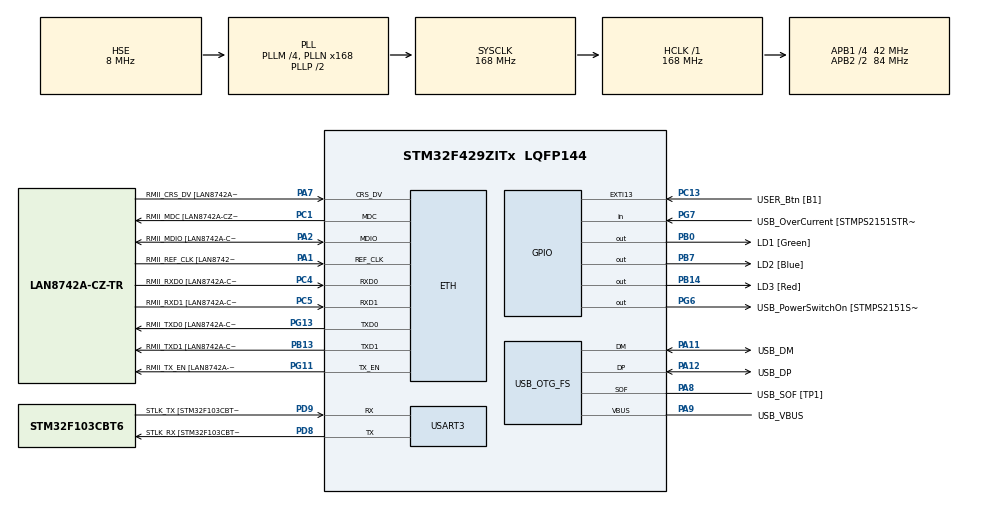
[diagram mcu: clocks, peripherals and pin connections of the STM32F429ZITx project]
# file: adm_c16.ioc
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ETH.MediaInterface=HAL_ETH_RMII_MODE
ETH.PHY_Name=LAN8742A_PHY_ADDRESS
ETH.PHY_Value=0
ETH.PhyAddress=0
Mcu.Family=STM32F4
Mcu.Name=STM32F429ZITx
Mcu.Package=LQFP144
NVIC.PriorityGroup=NVIC_PRIORITYGROUP_4
PA1.GPIO_Label=RMII_REF_CLK [LAN8742A-CZ-TR_REFCLK0]
PA1.Mode=RMII
PA1.Signal=ETH_REF_CLK
PA10.GPIO_Label=USB_ID
PA10.Signal=USB_OTG_FS_ID
PA11.GPIO_Label=USB_DM
PA11.Mode=Device_Only
PA11.Signal=USB_OTG_FS_DM
PA12.GPIO_Label=USB_DP
PA12.Mode=Device_Only
PA12.Signal=USB_OTG_FS_DP
PA13.GPIO_Label=TMS
PA13.Mode=Serial_Wire
PA13.Signal=SYS_JTMS-SWDIO
PA14.GPIO_Label=TCK
PA14.Mode=Serial_Wire
PA14.Signal=SYS_JTCK-SWCLK
PA2.GPIO_Label=RMII_MDIO [LAN8742A-CZ-TR_MDIO]
PA2.Mode=RMII
PA2.Signal=ETH_MDIO
PA7.GPIO_Label=RMII_CRS_DV [LAN8742A-CZ-TR_CRS_DV]
PA7.Mode=RMII
PA7.Signal=ETH_CRS_DV
PA8.GPIO_Label=USB_SOF [TP1]
PA8.Mode=Activate_SOF_FS
PA8.Signal=USB_OTG_FS_SOF
PA9.GPIO_Label=USB_VBUS
PA9.Mode=Activate_VBUS
PA9.Signal=USB_OTG_FS_VBUS
PB0.GPIO_Label=LD1 [Green]
PB0.Signal=GPIO_Output
PB13.GPIO_Label=RMII_TXD1 [LAN8742A-CZ-TR_TXD1]
PB13.Mode=RMII
PB13.Signal=ETH_TXD1
PB14.GPIO_Label=LD3 [Red]
PB14.Signal=GPIO_Output
PB7.GPIO_Label=LD2 [Blue]
PB7.PinState=GPIO_PIN_SET
PB7.Signal=GPIO_Output
PC1.GPIO_Label=RMII_MDC [LAN8742A-CZ-TR_MDC]
PC1.Mode=RMII
PC1.Signal=ETH_MDC
PC13.GPIO_Label=USER_Btn [B1]
PC13.Signal=GPXTI13
PC14/OSC32_IN.Mode=LSE-External-Oscillator
PC14/OSC32_IN.Signal=RCC_OSC32_IN
PC15/OSC32_OUT.Mode=LSE-External-Oscillator
PC15/OSC32_OUT.Signal=RCC_OSC32_OUT
PC4.GPIO_Label=RMII_RXD0 [LAN8742A-CZ-TR_RXD0]
PC4.Mode=RMII
PC4.Signal=ETH_RXD0
PC5.GPIO_Label=RMII_RXD1 [LAN8742A-CZ-TR_RXD1]
PC5.Mode=RMII
PC5.Signal=ETH_RXD1
PD8.GPIO_Label=STLK_RX [STM32F103CBT6_PA3]
PD8.Mode=Asynchronous
PD8.Signal=USART3_TX
PD9.GPIO_Label=STLK_TX [STM32F103CBT6_PA2]
PD9.Mode=Asynchronous
PD9.Signal=USART3_RX
PG11.GPIO_Label=RMII_TX_EN [LAN8742A-CZ-TR_TXEN]
PG11.Mode=RMII
PG11.Signal=ETH_TX_EN
PG13.GPIO_Label=RMII_TXD0 [LAN8742A-CZ-TR_TXD0]
PG13.Mode=RMII
PG13.Signal=ETH_TXD0
PG6.GPIO_Label=USB_PowerSwitchOn [STMPS2151STR_EN]
PG6.Signal=GPIO_Output
PG7.GPIO_Label=USB_OverCurrent [STMPS2151STR_FAULT]
PG7.Signal=GPIO_Input
PH0/OSC_IN.GPIO_Label=MCO [STM32F103CBT6_PA8]
PH0/OSC_IN.Mode=HSE-External-Clock-Source
PH0/OSC_IN.Signal=RCC_OSC_IN
PH1/OSC_OUT.Mode=HSE-External-Clock-Source
PH1/OSC_OUT.Signal=RCC_OSC_OUT
ProjectManager.HeapSize=0x200
ProjectManager.StackSize=0x400
ProjectManager.TargetToolchain=STM32CubeIDE
RCC.48MHZClocksFreq_Value=48000000
RCC.AHBFreq_Value=168000000
RCC.APB1CLKDivider=RCC_HCLK_DIV4
RCC.APB1Freq_Value=42000000
RCC.APB1TimFreq_Value=84000000
RCC.APB2CLKDivider=RCC_HCLK_DIV2
RCC.APB2Freq_Value=84000000
RCC.APB2TimCLKDivider=2
RCC.APB2TimFreq_Value=168000000
RCC.CortexFreq_Value=168000000
RCC.HCLKFreq_Value=168000000
RCC.HSE_VALUE=8000000
RCC.HSI_VALUE=16000000
RCC.PLLM=4
RCC.PLLMUL=RCC_PLL_MUL9
RCC.PLLN=168
RCC.PLLQ=7
RCC.PRESCALERUSB=RCC_USBCLKSOURCE_PLL_DIV1_5
RCC.SYSCLKFreq_VALUE=168000000
RCC.SYSCLKSource=RCC_SYSCLKSOURCE_PLLCLK
RCC.SYSCLKSourceVirtual=RCC_SYSCLKSOURCE_PLLCLK
RCC.USBFreq_Value=48000000
RCC.VCOOutputFreq_Value=336000000
USART3.VirtualMode=VM_ASYNC
USB_OTG_FS.VirtualMode=Device_Only
board=NUCLEO-F429ZI

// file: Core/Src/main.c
/* USER CODE BEGIN Header */
/**
  ******************************************************************************
  * @file           : main.c
  * @brief          : Main program body
  ******************************************************************************
  * @attention
  *
  * Copyright (c) 2022 STMicroelectronics.
  * All rights reserved.
  *
  * This software is licensed under terms that can be found in the LICENSE file
  * in the root directory of this software component.
  * If no LICENSE file comes with this software, it is provided AS-IS.
  *
  ******************************************************************************
  */
/* USER CODE END Header */
#include "main.h"
#include "string.h"

/* USER CODE BEGIN Includes */
#include "asm_func.h"
/* USER CODE END Includes */

ETH_TxPacketConfig TxConfig;
ETH_DMADescTypeDef  DMARxDscrTab[ETH_RX_DESC_CNT]; /* Ethernet Rx DMA Descriptors */
ETH_DMADescTypeDef  DMATxDscrTab[ETH_TX_DESC_CNT]; /* Ethernet Tx DMA Descriptors */

ETH_HandleTypeDef heth;

UART_HandleTypeDef huart3;

PCD_HandleTypeDef hpcd_USB_OTG_FS;

void SystemClock_Config(void);
static void MX_GPIO_Init(void);
static void MX_ETH_Init(void);
static void MX_USART3_UART_Init(void);
static void MX_USB_OTG_FS_PCD_Init(void);
/* USER CODE BEGIN PFP */

/* Ejercicio 1.
 * @brief 	Inicializa un array con 0's
 * @param 	vector array que se va a inicializar
 * @param 	longitud longitud del array a inicializar
 * @retval 	None
 */
void zeros(uint32_t* vector, uint32_t longitud)
{
	for (uint32_t i=0; i<longitud; ++i)
	{
		vector[i] = 0;
	}
}

/* Ejercicio 2.
 * @brief	Realiza el producto de un vector por un escalar
 * @param 	vectorIn Array con los datos de entrada
 * @param 	vectorOut Array donde se almacena el resultado
 * @param 	longitud Longitud del array
 * @param 	escalar Valor escalar por el que se va a multiplicar vectorIn
 * @retval	None
 */
void productoEscalar32(uint32_t* vectorIn, uint32_t* vectorOut, uint32_t longitud, uint32_t escalar)
{
	for (uint32_t i=0; i<longitud; ++i)
	{
		vectorOut[i] = escalar * vectorIn[i];
	}
}

/* Ejercicio 3.
 * @brief	Realiza el producto de un vector por un escalar
 * @param 	vectorIn Array con los datos de entrada
 * @param 	vectorOut Array donde se almacena el resultado
 * @param 	longitud Longitud del array
 * @param 	escalar Valor escalar por el que se va a multiplicar vectorIn
 * @retval  None
 */
void productoEscalar16(uint16_t* vectorIn, uint16_t* vectorOut, uint32_t longitud, uint16_t escalar)
{
	for (uint32_t i=0; i<longitud; ++i)
	{
		vectorOut[i] = escalar * vectorIn[i];
	}
}

/* Ejercicio 4.
 * @brief	Realiza el producto de un vector por un escalar saturando el resultado a 12bits
 * @param 	vectorIn Array con los datos de entrada
 * @param 	vectorOut Array donde se almacena el resultado
 * @param 	longitud Longitud del array
 * @param 	escalar Valor escalar por el que se va a multiplicar vectorIn
 */
void productoEscalar12(uint16_t* vectorIn, uint16_t* vectorOut, uint32_t longitud, uint16_t escalar)
{
	for (uint32_t i=0; i<longitud; ++i)
	{
		vectorOut[i] = (escalar * vectorIn[i] <= 4095) ? escalar * vectorIn[i] : 4095;
	}
}

/* Ejercicio 5.
 * @brief  Realiza un filtro de ventana realizando el promedio de 5 valores a izquierda y 5 a derecha de cada valor central
 * @param  Puntero a donde comienza el vector de entrada
 * @param  Puntero a donde comienza el vector de salida
 * @param  Longitud del vector
 * @retval None
 */
void filtroVentana10(uint16_t * vectorIn, uint16_t * vectorOut, uint32_t longitudVectorIn)
{
	if(vectorIn != 0 && vectorOut != 0)
	{
		int num_muestras_izq = 0;
		int num_muestras_der = 0;
		for(int i = 0; i<longitudVectorIn; i++)
		{
			num_muestras_izq = i<6 ? i : 5;
			num_muestras_der = i<((int)longitudVectorIn-5) ? 5 : ((int)longitudVectorIn-(i+1));
			*vectorOut = 0;
			for(int j=1;j<=num_muestras_izq;j++)
			{
				*vectorOut += *(vectorIn - j);
			}
			for(int j=1;j<=num_muestras_der;j++)
			{
				*vectorOut += *(vectorIn + j);
			}
			*vectorOut = *vectorOut/(num_muestras_izq+num_muestras_der);
			vectorIn++;
			vectorOut++;
		}
	}
}

/* Ejercicio 6
 * @brief  Realizar una función que reciba un vector de números signados de 32 bits y los “empaquete” en otro vector de 16 bits. La función deberá adecuar los valores de entrada a la nueva precisión.
 * @param  Puntero a donde comienza el vector de entrada
 * @param  Puntero a donde comienza el vector de salida
 * @param  Longitud del vector
 * @retval None
 */
void pack32to16 (int32_t * vectorIn, int16_t *vectorOut, uint32_t longitud)
{
	int i = 0;
	for (i = 0; i < longitud; i++)
	{
		*(vectorOut + i) = (uint16_t) (((*(vectorIn + i)) >> 16) & 0xff);
	}
}

/* Ejercicio 7
 * @brief Realizar una función que reciba un vector de números signados de 32 bits y devuelva la posición del máximo del vector.
 * @param vectorIn	Puntero donde comienza el vector de entrada
 * @param longitud	Longitud del vector de entrada
 * @retval posicion del valor maximo
 * */
int32_t max (int32_t * vectorIn, uint32_t longitud)
{
	int32_t max = -1000;
	int32_t pos_max = 0;
	for (int i = 0; i < longitud; i++)
	{
		if (vectorIn[i]>max)
		{
			max = vectorIn[i];
			pos_max=i+1;
		}
	}
	return pos_max;
}

/* Ejercicio 8
 * @brief Realizar una función que reciba un vector de muestras signadas de 32 bits y lo decime descartando una cada N muestras.
 * @param vectorIn	Vector con los valores de entrada.
 * @param vectorOut	Vector con los valores de salida.
 * @param longitud	Longitud del vector.
 * @param N	Numero de muestras de downsample.
 * @retval None
 * */
void downsampleM (int32_t * vectorIn, int32_t * vectorOut, uint32_t longitud, uint32_t N)
{
	if (vectorIn == 0 || vectorOut == 0)
		return;

	uint32_t j=0;

	vectorOut[j++] = vectorIn[0]; //Asigno el primer elemento para que la condicion i%N != 0 no se evalue con i=0

	for (uint32_t i=1; i<longitud; ++i)
	{
		if (i%N != 0)
			vectorOut[j++] = vectorIn[i];
	}
}

/* Ejercicio 9
 * @brief Realizar una función que reciba un vector de muestras no signadas de 16 bits e invierta su orden.
 * @param vector Vector de entrada/salida
 * @param longitud	Longitud del vector.
 * @retval None
 * */
void invertir (uint16_t * vector, uint32_t longitud)
{
	if (vector == 0)
		return;

	for (uint32_t i=0; i<longitud/2; ++i)
	{
		uint16_t aux = vector[i];
		vector[i] = vector[longitud-i];
		vector[longitud-i] = aux;
	}
}

/* Ejercicio 10
 * @brief Realizar una función que recibe un vector de 4096 valores de 16 bits (signados), que corresponden a muestras de audio tomadas
 * a una tasa de muestreo de 44.100 muestras/s.
 * La función debe introducir un “eco” de la mitad de la amplitud de la muestra original a los 20ms de comenzada
 * la grabación.
 * @param vectorIn	Direccion de la primera posicion de memoria del vector de entrada
 * @retval None
 */
void eco(int16_t* vectorIn)
{
	int16_t vinCopy[4096];

	for (int16_t i=0; i<4096; ++i)
	{
		vinCopy[i] = vectorIn[i]/2; // Guardo una copia de la senal de entrada/2
	}

	for (uint16_t i=882; i<4096; ++i)
	{
		vectorIn[i] = vectorIn[i] + vinCopy[i-882];
	}

	int a;
	(void)a;
}

/* USER CODE END PFP */

/* USER CODE BEGIN 0 */
static void PrivilegiosSVC (void)
{
    // Obtiene valor del registro de 32 bits del procesador llamado "control".
    // El registro guarda los siguientes estados:
    // bit 2: Uso de FPU en el contexto actual. Usado=1, no usado=0.
    // bit 1: Mapeo del stack pointer(sp). MSP=0, PSP=1.
    // bit 0: Modo de ejecucion en Thread. Privilegiado=0, No privilegiado=1.
    //        Recordar que este valor solo se usa en modo Thread. Las
    //        interrupciones siempre se ejecutan en modo Handler con total
    //        privilegio.
    uint32_t x = __get_CONTROL ();

    // Actividad de debug: Ver registro "control" y valor de variable "x".
    //__BKPT (0);

    x |= 1;
    // bit 0 a modo No privilegiado.
    __set_CONTROL (x);

    // En este punto se estaria ejecutando en modo No privilegiado.
    // Lectura del registro "control" para confirmar.
    x = __get_CONTROL ();

    // Actividad de debug: Ver registro "control" y valor de variable "x".
    //__BKPT (0);

    x &= ~1u;
    // Se intenta volver a modo Privilegiado (bit 0, valor 0).
    __set_CONTROL (x);

    // Confirma que esta operacion es ignorada por estar ejecutandose en modo
    // Thread no privilegiado.
    x = __get_CONTROL ();

    // Actividad de debug: Ver registro "control" y valor de variable "x".
    //__BKPT (0);

    // En este punto, ejecutando en modo Thread no privilegiado, la unica forma
    // de volver a modo privilegiado o de realizar cualquier cambio que requiera
    // modo privilegiado, es pidiendo ese servicio a un hipotetico sistema
    // opertivo de tiempo real.
    // Para esto se invoca por software a la interrupcion SVC (Supervisor Call)
    // utilizando la instruccion "svc".
    // No hay intrinsics para realizar esta tarea. Para utilizar la instruccion
    // es necesario implementar una funcion en assembler. Ver el archivo
    // asm_func.S.
    asm_svc ();

    // El sistema operativo (el handler de SVC) deberia haber devuelto el modo
    // de ejecucion de Thread a privilegiado (bit 0 en valor 0).
    x = __get_CONTROL ();

    // Fin del ejemplo de SVC
}
/* USER CODE END 0 */
int main(void)
{

  /* MCU Configuration--------------------------------------------------------*/

  /* Reset of all peripherals, Initializes the Flash interface and the Systick. */
  HAL_Init();

  /**/
  // Activa contador de ciclos (iniciar una sola vez)
  DWT->CTRL |= 1 << DWT_CTRL_CYCCNTENA_Pos;

  /* Configure the system clock */
  SystemClock_Config();

  /* Initialize all configured peripherals */
  MX_GPIO_Init();
  MX_ETH_Init();
  MX_USART3_UART_Init();
  MX_USB_OTG_FS_PCD_Init();
  /* USER CODE BEGIN 2 */
  PrivilegiosSVC ();

  // =======================================================
  // Ejercicio 1: 	-O0  	C 1242 ciclos, ASM 264 ciclos
  //				-Ofast 	C 1417 ciclos, ASM 261 ciclos
  { //C
	  uint32_t vector[50];
	  for(uint32_t i=0; i<50; ++i) vector[i] = i;
	  DWT->CYCCNT = 0;
	  zeros(vector, 50);
	  const volatile uint32_t Ciclos = DWT->CYCCNT;
	  (void) Ciclos; //Para evitar warning de unused
  }
  { //ASM
	  uint32_t vector[50];
	  for(uint32_t i=0; i<50; ++i) vector[i] = i;
	  DWT->CYCCNT = 0;
	  asm_zeros(vector, 50);
	  const volatile uint32_t Ciclos = DWT->CYCCNT;
	  (void) Ciclos;
  }

  // =========================================================
  // Ejercicio 2: 	-O0		C 1902 ciclos, ASM 519 ciclos
  //				-Ofast 	C  452 ciclos, ASM 512 ciclos
  {
	  uint32_t vectorIn[50], vectorOut[50];
	  for( uint32_t i=0; i<50; ++i) vectorIn[i] = i;
	  DWT->CYCCNT = 0;
	  productoEscalar32(vectorIn, vectorOut, 50, 2);
	  const volatile uint32_t Ciclos = DWT->CYCCNT;
	  (void) Ciclos;
  }
  {
	  uint32_t vectorIn[50], vectorOut[50];
	  for( uint32_t i=0; i<50; ++i) vectorIn[i] = i;
	  DWT->CYCCNT = 0;
	  asm_escalar32(vectorIn, vectorOut, 50, 2);
	  const volatile uint32_t Ciclos = DWT->CYCCNT;
	  (void) Ciclos;
  }

  // =========================================================
  // Ejercicio 3: 	-O0		C 1944 ciclos, ASM 522 ciclos
  //				-Ofast 	C  455 ciclos, ASM 512 ciclos
  {
	  uint16_t vectorIn[50], vectorOut[50];
	  for( uint16_t i=0; i<50; ++i) vectorIn[i] = i;
	  DWT->CYCCNT = 0;
	  productoEscalar16(vectorIn, vectorOut, 50, 2);
	  const volatile uint32_t Ciclos = DWT->CYCCNT;
	  (void) Ciclos;
  }
  {
	  uint16_t vectorIn[50], vectorOut[50];
	  for( uint16_t i=0; i<50; ++i) vectorIn[i] = i;
	  DWT->CYCCNT = 0;
	  asm_escalar16(vectorIn, vectorOut, 50, 2);
	  const volatile uint32_t Ciclos = DWT->CYCCNT;
	  (void) Ciclos;
  }

  // =========================================================
  // Ejercicio 4: C 2198 ciclos, ASM 571 ciclos
  {
	  uint16_t vectorIn[50], vectorOut[50];
	  for (uint16_t i=0; i<50; ++i) vectorIn[i] = i;
	  DWT->CYCCNT = 0;
	  productoEscalar12(vectorIn, vectorOut, 50, 4);
	  const volatile uint32_t Ciclos = DWT->CYCCNT;
	  (void) Ciclos;
  }
  {
	  uint16_t vectorIn[50], vectorOut[50];
	  for (uint16_t i=0; i<50; ++i) vectorIn[i] = i;
	  DWT->CYCCNT = 0;
	  asm_escalar12(vectorIn, vectorOut, 50, 4);
	  const volatile uint32_t Ciclos = DWT->CYCCNT;
	  (void) Ciclos;
  }

  // =========================================================
  // Ejercicio 5: C 21956 ciclos, ASM 9918 ciclos
  {
	  uint16_t vectorIn[50], vectorOut[50];
	  for (uint16_t i=0; i<50; ++i) vectorIn[i] = i;
	  DWT->CYCCNT = 0;
	  filtroVentana10(vectorIn, vectorOut, 50);
	  const volatile uint32_t Ciclos = DWT->CYCCNT;
	  (void) Ciclos;
  }
  {
	  uint16_t vectorIn[50], vectorOut[50];
	  for (uint16_t i=0; i<50; ++i) vectorIn[i] = i;
	  DWT->CYCCNT = 0;
	  asm_filtroVentana10(vectorIn, vectorOut, 50);
	  const volatile uint32_t Ciclos = DWT->CYCCNT;
	  (void) Ciclos;
  }

  // =========================================================
  // Ejercicio 6: C 1617 ciclos, ASM 544 ciclos
  {
	  int32_t vectorIn[40];
	  int16_t vectorOut[40];
	  DWT->CYCCNT = 0;
	  pack32to16(vectorIn, vectorOut, 40);
	  const volatile uint32_t Ciclos = DWT->CYCCNT;
	  (void) Ciclos;
  }
  {
	  int32_t vectorIn[40];
	  int16_t vectorOut[40];
	  DWT->CYCCNT = 0;
	  asm_pack16(vectorIn, vectorOut, 40);
	  const volatile uint32_t Ciclos = DWT->CYCCNT;
	  (void) Ciclos;
  }

  // =========================================================
  // Ejercicio 7: C 418 ciclos, ASM 130 ciclos
  {
	  int32_t vectorIn[10] = {0,44,1,25,177,3,2,1,1234,3};
	  int32_t pos;
	  DWT->CYCCNT = 0;
	  pos = max (vectorIn, 10);
	  const volatile uint32_t Ciclos = DWT->CYCCNT;
	  (void) Ciclos;
	  (void) pos;
  }
  {
	  int32_t vectorIn[10] = {0,44,1,25,177,3,2,1,1234,3};
	  int32_t pos;
	  DWT->CYCCNT = 0;
	  pos = asm_max (vectorIn, 10);
	  const volatile uint32_t Ciclos = DWT->CYCCNT;
	  (void) Ciclos;
	  (void) pos;
  }

  // =========================================================
  // Ejercicio 8: C 450 ciclos, ASM 186 ciclos
  {
	  int32_t vectorDSIn[10], vectorDSOut[10];

	  for(int32_t i=0; i<10; ++i)
	  {
	    vectorDSIn[i] = i;
	    vectorDSOut[i] = 0;
	  }

	  DWT->CYCCNT = 0;
	  downsampleM(vectorDSIn, vectorDSOut, 10, 2);
	  volatile uint32_t Ciclos = DWT->CYCCNT;
	  (void) Ciclos;
  }
  {
	  int32_t vectorDSIn[10], vectorDSOut[10];

	  for(int32_t i=0; i<10; ++i)
	  {
	    vectorDSIn[i] = i;
	    vectorDSOut[i] = 0;
	  }

	  DWT->CYCCNT = 0;
	  asm_downsampleM(vectorDSIn, vectorDSOut, 10, 2);
	  volatile uint32_t Ciclos = DWT->CYCCNT;
	  (void) Ciclos;
  }

  // =========================================================
  // Ejercicio 9: C 361 ciclos, ASM 67 ciclos
  {
	  uint16_t inv[10] = {0,1,2,3,4,5,6,7,8,9};

	  DWT->CYCCNT = 0;
	  invertir(inv, 10);
	  volatile uint32_t Ciclos = DWT->CYCCNT;
	  (void) Ciclos;
  }
  {
	  uint16_t inv[10] = {0,1,2,3,4,5,6,7,8,9};

	  DWT->CYCCNT = 0;
	  asm_invertir(inv, 10);
	  volatile uint32_t Ciclos = DWT->CYCCNT;
	  (void) Ciclos;
  }

  // =========================================================
  // Ejercicio 10: 	-O0		C 450454 ciclos, ASM  29334 ciclos
  //				-Ofast 	C  73153 ciclos, ASM  ciclos
  {
	  int16_t vectorIn[4096];
	  for(int16_t i=0; i<4096; ++i) vectorIn[i] = i;

	  DWT->CYCCNT = 0;
	  eco(vectorIn);
	  volatile uint32_t Ciclos = DWT->CYCCNT;
	  (void) Ciclos;
  }
  {
	  int16_t vectorIn[4096], vectorOut[4096];
	  for(int16_t i=0; i<4096; ++i) vectorIn[i] = i;

	  DWT->CYCCNT = 0;
	  asm_eco(vectorIn, vectorOut, 4096);
	  volatile uint32_t Ciclos = DWT->CYCCNT;
	  (void) Ciclos;
  }

  const uint32_t Resultado = asm_sum (5, 3);
  (void) Resultado; // para evitar warning durante la compilacion

  /* Test ejercicio 1 */
  uint32_t data_in[10]={0xFFFF,0xFFFF,0xFFFF,0xFFFF,0xFFFF,0xFFFF,0xFFFF,0xFFFF,0xFFFF,0xFFFF};
  uint32_t data_out[10]={0xFFFF,0xFFFF,0xFFFF,0xFFFF,0xFFFF,0xFFFF,0xFFFF,0xFFFF,0xFFFF,0xFFFF};

  zeros(data_in, 10);
  zeros(data_out, 10);

  /* Test ejercicio 2 */
  for (uint32_t i=0; i<10; ++i) data_in[i] = i;

  productoEscalar32(data_in, data_out, 10, 2);
  /* Test ejercicio 2 ASM*/
  for (uint32_t i=0; i<10; ++i) data_in[i] = i;
  for (uint32_t i=0; i<10; ++i) data_out[i] = 0;

  asm_escalar32(data_in, data_out, 10, 2);

  /* Test ejercicio 3 */
  uint16_t data_in16[10]={0xFFFF,0xFFFF,0xFFFF,0xFFFF,0xFFFF,0xFFFF,0xFFFF,0xFFFF,0xFFFF,0xFFFF};
  uint16_t data_out16[10]={0xFFFF,0xFFFF,0xFFFF,0xFFFF,0xFFFF,0xFFFF,0xFFFF,0xFFFF,0xFFFF,0xFFFF};

  for (uint32_t i=0; i<10; ++i) data_in16[i] = i;

  productoEscalar16(data_in16, data_out16, 10, 2);

  /* Test ejercicio 4 */
  for (uint32_t i=0; i<10; ++i) data_in16[i] = i;

  productoEscalar12(data_in16, data_out16, 10, 2);

  /* USER CODE END 2 */

  /* Infinite loop */
  while (1)
  {

  }
}

void SystemClock_Config(void)
{
  RCC_OscInitTypeDef RCC_OscInitStruct = {0};
  RCC_ClkInitTypeDef RCC_ClkInitStruct = {0};

  /** Configure the main internal regulator output voltage
  */
  __HAL_RCC_PWR_CLK_ENABLE();
  __HAL_PWR_VOLTAGESCALING_CONFIG(PWR_REGULATOR_VOLTAGE_SCALE1);

  /** Initializes the RCC Oscillators according to the specified parameters
  * in the RCC_OscInitTypeDef structure.
  */
  RCC_OscInitStruct.OscillatorType = RCC_OSCILLATORTYPE_HSE;
  RCC_OscInitStruct.HSEState = RCC_HSE_BYPASS;
  RCC_OscInitStruct.PLL.PLLState = RCC_PLL_ON;
  RCC_OscInitStruct.PLL.PLLSource = RCC_PLLSOURCE_HSE;
  RCC_OscInitStruct.PLL.PLLM = 4;
  RCC_OscInitStruct.PLL.PLLN = 168;
  RCC_OscInitStruct.PLL.PLLP = RCC_PLLP_DIV2;
  RCC_OscInitStruct.PLL.PLLQ = 7;
  if (HAL_RCC_OscConfig(&RCC_OscInitStruct) != HAL_OK)
  {
    Error_Handler();
  }

  /** Initializes the CPU, AHB and APB buses clocks
  */
  RCC_ClkInitStruct.ClockType = RCC_CLOCKTYPE_HCLK|RCC_CLOCKTYPE_SYSCLK
                              |RCC_CLOCKTYPE_PCLK1|RCC_CLOCKTYPE_PCLK2;
  RCC_ClkInitStruct.SYSCLKSource = RCC_SYSCLKSOURCE_PLLCLK;
  RCC_ClkInitStruct.AHBCLKDivider = RCC_SYSCLK_DIV1;
  RCC_ClkInitStruct.APB1CLKDivider = RCC_HCLK_DIV4;
  RCC_ClkInitStruct.APB2CLKDivider = RCC_HCLK_DIV2;

  if (HAL_RCC_ClockConfig(&RCC_ClkInitStruct, FLASH_LATENCY_5) != HAL_OK)
  {
    Error_Handler();
  }
}

static void MX_ETH_Init(void)
{

   static uint8_t MACAddr[6];

  heth.Instance = ETH;
  MACAddr[0] = 0x00;
  MACAddr[1] = 0x80;
  MACAddr[2] = 0xE1;
  MACAddr[3] = 0x00;
  MACAddr[4] = 0x00;
  MACAddr[5] = 0x00;
  heth.Init.MACAddr = &MACAddr[0];
  heth.Init.MediaInterface = HAL_ETH_RMII_MODE;
  heth.Init.TxDesc = DMATxDscrTab;
  heth.Init.RxDesc = DMARxDscrTab;
  heth.Init.RxBuffLen = 1524;

  if (HAL_ETH_Init(&heth) != HAL_OK)
  {
    Error_Handler();
  }

  memset(&TxConfig, 0 , sizeof(ETH_TxPacketConfig));
  TxConfig.Attributes = ETH_TX_PACKETS_FEATURES_CSUM | ETH_TX_PACKETS_FEATURES_CRCPAD;
  TxConfig.ChecksumCtrl = ETH_CHECKSUM_IPHDR_PAYLOAD_INSERT_PHDR_CALC;
  TxConfig.CRCPadCtrl = ETH_CRC_PAD_INSERT;

}

static void MX_USART3_UART_Init(void)
{

  huart3.Instance = USART3;
  huart3.Init.BaudRate = 115200;
  huart3.Init.WordLength = UART_WORDLENGTH_8B;
  huart3.Init.StopBits = UART_STOPBITS_1;
  huart3.Init.Parity = UART_PARITY_NONE;
  huart3.Init.Mode = UART_MODE_TX_RX;
  huart3.Init.HwFlowCtl = UART_HWCONTROL_NONE;
  huart3.Init.OverSampling = UART_OVERSAMPLING_16;
  if (HAL_UART_Init(&huart3) != HAL_OK)
  {
    Error_Handler();
  }

}

static void MX_USB_OTG_FS_PCD_Init(void)
{

  hpcd_USB_OTG_FS.Instance = USB_OTG_FS;
  hpcd_USB_OTG_FS.Init.dev_endpoints = 4;
  hpcd_USB_OTG_FS.Init.speed = PCD_SPEED_FULL;
  hpcd_USB_OTG_FS.Init.dma_enable = DISABLE;
  hpcd_USB_OTG_FS.Init.phy_itface = PCD_PHY_EMBEDDED;
  hpcd_USB_OTG_FS.Init.Sof_enable = ENABLE;
  hpcd_USB_OTG_FS.Init.low_power_enable = DISABLE;
  hpcd_USB_OTG_FS.Init.lpm_enable = DISABLE;
  hpcd_USB_OTG_FS.Init.vbus_sensing_enable = ENABLE;
  hpcd_USB_OTG_FS.Init.use_dedicated_ep1 = DISABLE;
  if (HAL_PCD_Init(&hpcd_USB_OTG_FS) != HAL_OK)
  {
    Error_Handler();
  }

}

static void MX_GPIO_Init(void)
{
  GPIO_InitTypeDef GPIO_InitStruct = {0};

  /* GPIO Ports Clock Enable */
  __HAL_RCC_GPIOC_CLK_ENABLE();
  __HAL_RCC_GPIOH_CLK_ENABLE();
  __HAL_RCC_GPIOA_CLK_ENABLE();
  __HAL_RCC_GPIOB_CLK_ENABLE();
  __HAL_RCC_GPIOD_CLK_ENABLE();
  __HAL_RCC_GPIOG_CLK_ENABLE();

  /*Configure GPIO pin Output Level */
  HAL_GPIO_WritePin(GPIOB, LD1_Pin|LD3_Pin|LD2_Pin, GPIO_PIN_RESET);

  /*Configure GPIO pin Output Level */
  HAL_GPIO_WritePin(USB_PowerSwitchOn_GPIO_Port, USB_PowerSwitchOn_Pin, GPIO_PIN_RESET);

  /*Configure GPIO pin : USER_Btn_Pin */
  GPIO_InitStruct.Pin = USER_Btn_Pin;
  GPIO_InitStruct.Mode = GPIO_MODE_IT_RISING;
  GPIO_InitStruct.Pull = GPIO_NOPULL;
  HAL_GPIO_Init(USER_Btn_GPIO_Port, &GPIO_InitStruct);

  /*Configure GPIO pins : LD1_Pin LD3_Pin LD2_Pin */
  GPIO_InitStruct.Pin = LD1_Pin|LD3_Pin|LD2_Pin;
  GPIO_InitStruct.Mode = GPIO_MODE_OUTPUT_PP;
  GPIO_InitStruct.Pull = GPIO_NOPULL;
  GPIO_InitStruct.Speed = GPIO_SPEED_FREQ_LOW;
  HAL_GPIO_Init(GPIOB, &GPIO_InitStruct);

  /*Configure GPIO pin : USB_PowerSwitchOn_Pin */
  GPIO_InitStruct.Pin = USB_PowerSwitchOn_Pin;
  GPIO_InitStruct.Mode = GPIO_MODE_OUTPUT_PP;
  GPIO_InitStruct.Pull = GPIO_NOPULL;
  GPIO_InitStruct.Speed = GPIO_SPEED_FREQ_LOW;
  HAL_GPIO_Init(USB_PowerSwitchOn_GPIO_Port, &GPIO_InitStruct);

  /*Configure GPIO pin : USB_OverCurrent_Pin */
  GPIO_InitStruct.Pin = USB_OverCurrent_Pin;
  GPIO_InitStruct.Mode = GPIO_MODE_INPUT;
  GPIO_InitStruct.Pull = GPIO_NOPULL;
  HAL_GPIO_Init(USB_OverCurrent_GPIO_Port, &GPIO_InitStruct);

}

void Error_Handler(void)
{
  __disable_irq();
  while (1)
  {
  }
}
